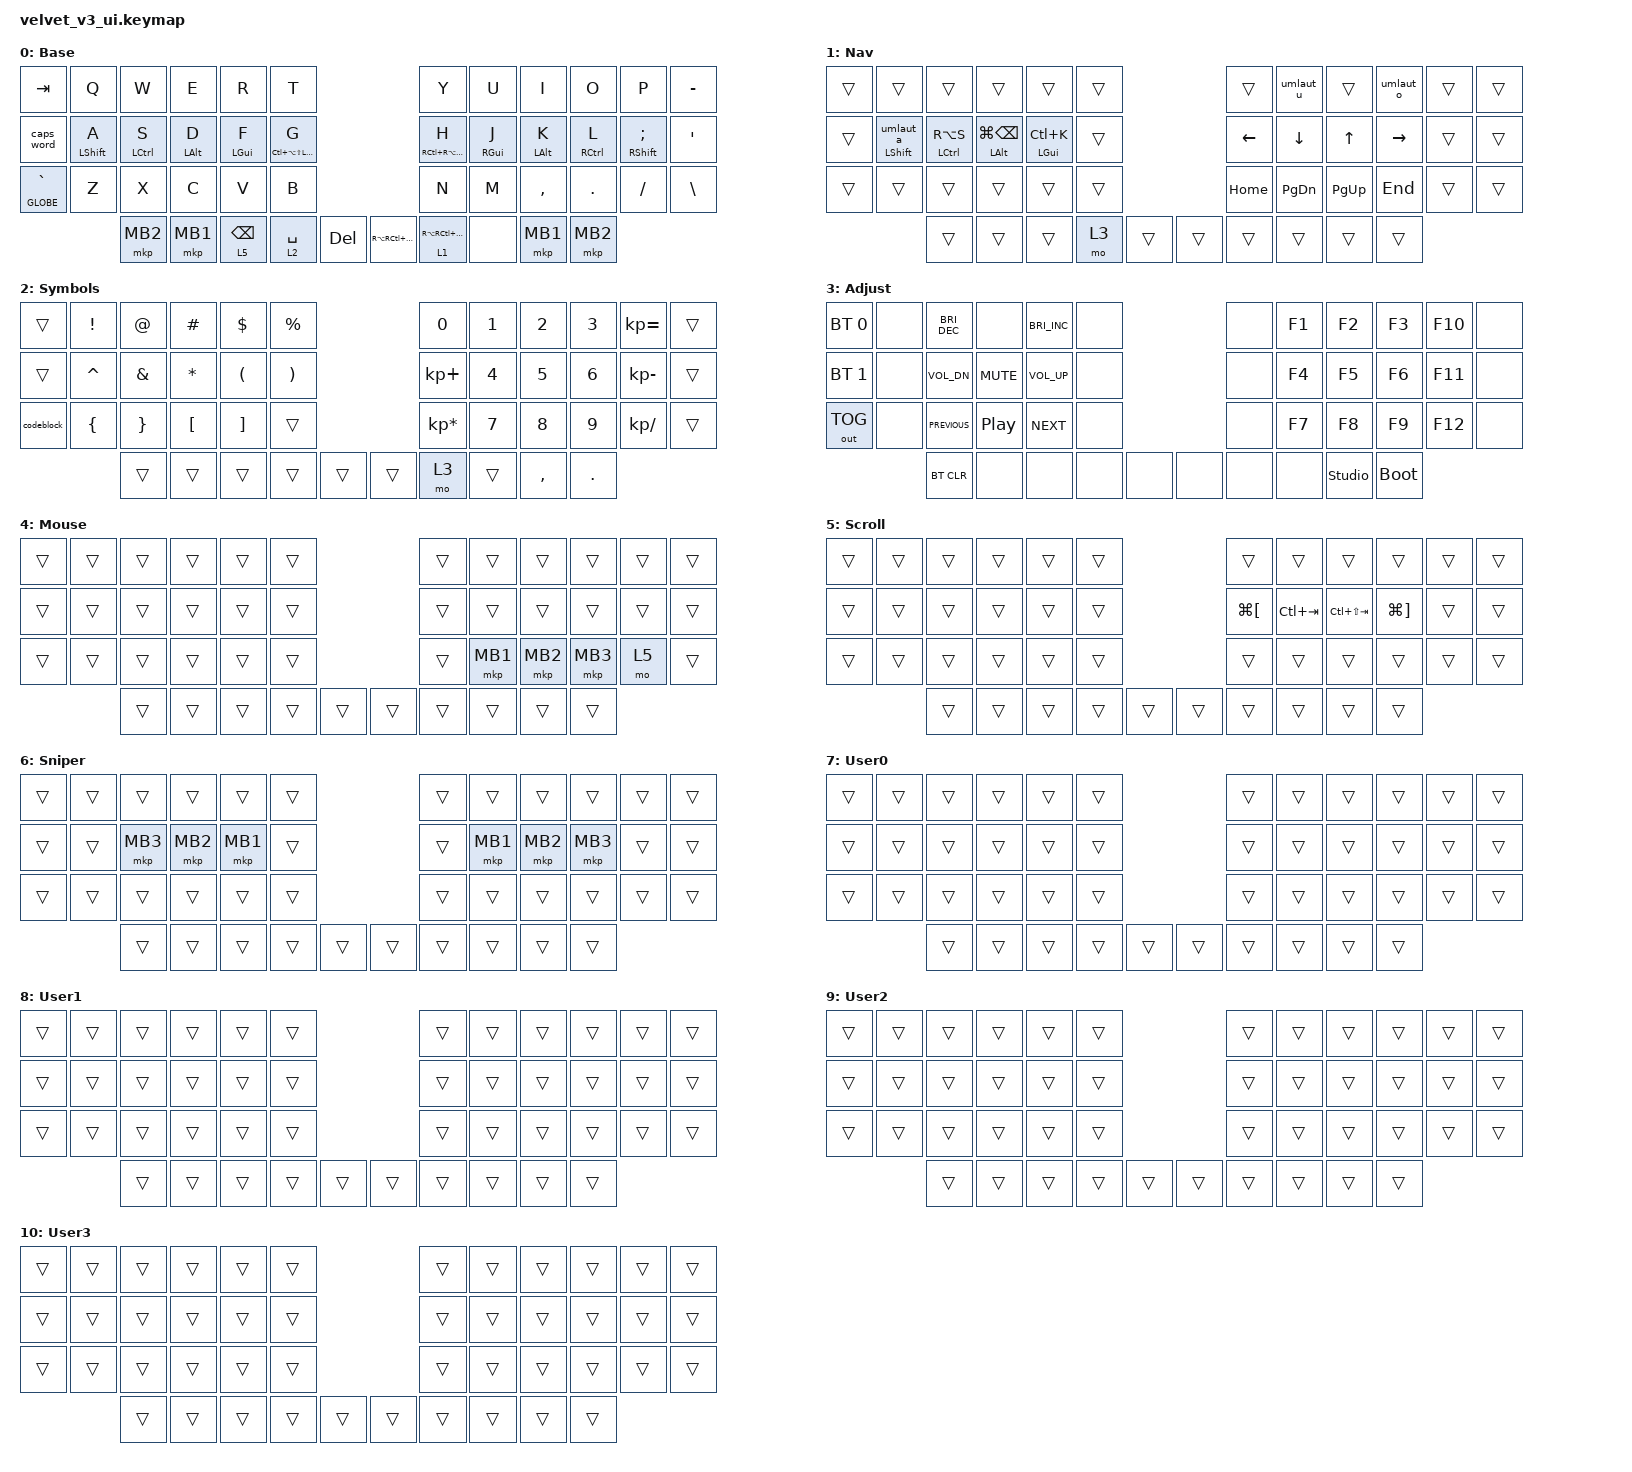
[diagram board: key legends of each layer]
#include "keys_ru.h"
#include <dt-bindings/zmk/input_transform.h>
#include <input/processors.dtsi>
#include <zephyr/dt-bindings/input/input-event-codes.h>
#include <behaviors.dtsi>
#include <dt-bindings/zmk/bt.h>
#include <dt-bindings/zmk/keys.h>
#include <dt-bindings/zmk/outputs.h>
#include <dt-bindings/zmk/pointing.h>

/ {
    behaviors {
        hold_click: hold_click {
            compatible = "zmk,behavior-hold-tap";
            label = "HOLD_CLICK";
            bindings = <&mo>, <&mkp>;

            #binding-cells = <2>;
            tapping-term-ms = <150>;
            hold-while-undecided;
        };

        mouse_layer: mouse_layer {
            compatible = "zmk,behavior-sticky-key";
            label = "MOUSE_LAYER";
            bindings = <&mo>;
            #binding-cells = <1>;
            release-after-ms = <200>;
        };

        hml: home_row_mod_left {
            compatible = "zmk,behavior-hold-tap";
            label = "HOME_ROW_MOD_LEFT";
            bindings = <&kp>, <&kp>;

            #binding-cells = <2>;
            flavor = "balanced";
            require-prior-idle-ms = <125>;
            tapping-term-ms = <280>;
            quick-tap-ms = <175>;
            hold-trigger-on-release;
            hold-trigger-key-positions = <19 20 22 6 7 8 9 10 10 11 22 23 34 35 18 19 20 21 22 30 31 32 33 34 44 45 41 42 43 38 39 40>;
        };

        hmr: home_row_mod_right {
            compatible = "zmk,behavior-hold-tap";
            label = "HOME_ROW_MOD_RIGHT";
            bindings = <&kp>, <&kp>;

            #binding-cells = <2>;
            flavor = "balanced";
            require-prior-idle-ms = <125>;
            tapping-term-ms = <280>;
            quick-tap-ms = <175>;
            hold-trigger-on-release;
            hold-trigger-key-positions = <16 15 13 0 1 2 3 4 5 12 13 14 15 16 17 24 25 26 27 28 29 36 37 38 39 40 41 42 43>;
        };

        shift_delete: shift_delete {
            compatible = "zmk,behavior-mod-morph";
            label = "SHIFT_DELETE";
            bindings = <&kp BACKSPACE>, <&kp DELETE>;

            #binding-cells = <0>;
            mods = <(MOD_LSFT)>;
        };

        zip_auto_mouse: zip_auto_mouse {
            compatible = "zmk,input-processor-temp-layer";
            #input-processor-cells = <2>;
            require-prior-idle-ms = <800>;
            excluded-positions = <>;
        };

        umlaut_a: umlaut_a {
            compatible = "zmk,behavior-mod-morph";
            label = "UMLAUT_A";
            #binding-cells = <0>;
            bindings = <&umlaut_a_lower>, <&umlaut_a_upper>;

            mods = <(MOD_LSFT|MOD_RSFT)>;
        };

        umlaut_u: umlaut_u {
            compatible = "zmk,behavior-mod-morph";
            label = "UMLAUT_U";
            #binding-cells = <0>;
            bindings = <&umlaut_u_lower>, <&umlaut_u_upper>;

            mods = <(MOD_LSFT|MOD_RSFT)>;
        };

        umlaut_o: umlaut_o {
            compatible = "zmk,behavior-mod-morph";
            label = "UMLAUT_O";
            #binding-cells = <0>;
            bindings = <&umlaut_o_lower>, <&umlaut_o_upper>;

            mods = <(MOD_LSFT|MOD_RSFT)>;
        };

        ht_umlaut_a: ht_umlaut_a {
            compatible = "zmk,behavior-hold-tap";
            label = "HT_UMLAUT_A";
            #binding-cells = <2>;
            bindings = <&kp>, <&umlaut_a>;

            tapping-term-ms = <280>;
            flavor = "balanced";
        };
    };

    combos {
        compatible = "zmk,combos";

        jk-enter {
            bindings = <&kp ENTER>;
            key-positions = <20 19>;
        };

        right-scroll {
            bindings = <&mo 5>;
            key-positions = <44 45>;
        };

        df-esc {
            bindings = <&kp ESC>;
            key-positions = <15 16>;
        };

        kl-shift-enter {
            bindings = <&kp RS(ENTER)>;
            key-positions = <20 21>;
        };
    };

    macros {
        codeblock: codeblock {
            compatible = "zmk,behavior-macro";
            #binding-cells = <0>;
            bindings =
                <&kp GRAVE &kp GRAVE &kp GRAVE &kp GRAVE>,
                <&macro_wait_time 10>,
                <&kp LS(RET) &kp LS(RET)>,
                <&macro_wait_time 10>,
                <&kp GRAVE &kp GRAVE &kp GRAVE &kp GRAVE>,
                <&macro_wait_time 10>,
                <&kp UP>;

            label = "CODEBLOCK";
        };

        umlaut_a_lower: umlaut_a_lower {
            compatible = "zmk,behavior-macro";
            #binding-cells = <0>;
            bindings = <&kp RA(U) &kp A>;
            label = "UMLAUT_A_LOWER";
        };

        umlaut_a_upper: umlaut_a_upper {
            compatible = "zmk,behavior-macro";
            #binding-cells = <0>;
            bindings = <&kp RA(U) &kp LS(A)>;
            label = "UMLAUT_A_UPPER";
        };

        umlaut_u_lower: umlaut_u_lower {
            compatible = "zmk,behavior-macro";
            #binding-cells = <0>;
            bindings = <&kp RA(U) &kp U>;
            label = "UMLAUT_U_LOWER";
        };

        umlaut_u_upper: umlaut_u_upper {
            compatible = "zmk,behavior-macro";
            #binding-cells = <0>;
            bindings = <&kp RA(U) &kp LS(U)>;
            label = "UMLAUT_U_UPPER";
        };

        umlaut_o_lower: umlaut_o_lower {
            compatible = "zmk,behavior-macro";
            #binding-cells = <0>;
            bindings = <&kp RA(U) &kp O>;
            label = "UMLAUT_O_LOWER";
        };

        umlaut_o_upper: umlaut_o_upper {
            compatible = "zmk,behavior-macro";
            #binding-cells = <0>;
            bindings = <&kp RA(U) &kp LS(O)>;
            label = "UMLAUT_O_UPPER";
        };
    };

    keymap {
        compatible = "zmk,keymap";

        base {
            bindings = <
&kp TAB          &kp Q              &kp W         &kp E            &kp R            &kp T                                                            &kp Y                          &kp U             &kp I            &kp O         &kp P                  &kp MINUS
&caps_word       &hml LEFT_SHIFT A  &hml LCTRL S  &hml LEFT_ALT D  &hml LEFT_GUI F  &hml LC(LA(LS(LEFT_GUI))) G                                      &hmr RC(RA(RS(RIGHT_GUI))) H   &hmr RIGHT_GUI J  &hmr LEFT_ALT K  &hmr RCTRL L  &hmr RIGHT_SHIFT SEMI  &kp SQT
&mt GLOBE GRAVE  &kp Z              &kp X         &kp C            &kp V            &kp B                                                            &kp N                          &kp M             &kp COMMA        &kp DOT       &kp SLASH              &kp BACKSLASH
                                    &mkp MB2      &mkp MB1         &lt 5 BACKSPACE  &lt 2 SPACE                  &kp DELETE    &kp RA(RC(RG(LEFT)))  &lt 1 RA(RC(RG(RIGHT_ARROW)))  &none             &mkp MB1         &mkp MB2
            >;

            display-name = "Base";
        };

        nav {
            bindings = <
&trans  &trans                     &trans            &trans                       &trans                &trans                    &trans    &umlaut_u      &trans       &umlaut_o  &trans  &trans
&trans  &ht_umlaut_a LEFT_SHIFT 0  &hml LCTRL RA(S)  &hml LEFT_ALT LG(BACKSPACE)  &hml LEFT_GUI LC(K)   &trans                    &kp LEFT  &kp DOWN       &kp UP       &kp RIGHT  &trans  &trans
&trans  &trans                     &trans            &trans                       &trans                &trans                    &kp HOME  &kp PAGE_DOWN  &kp PAGE_UP  &kp END    &trans  &trans
                                   &trans            &trans                       &trans                &mo 3   &trans    &trans  &trans    &trans         &trans       &trans
            >;

            display-name = "Nav";
        };

        sym {
            bindings = <
&trans      &kp EXCL        &kp AT           &kp HASH          &kp DOLLAR             &kp PERCENT                                &kp N0           &kp N1  &kp N2     &kp N3      &kp KP_EQUAL   &trans
&trans      &kp CARET       &kp AMPS         &kp ASTRK         &kp LEFT_PARENTHESIS   &kp RIGHT_PARENTHESIS                      &kp KP_PLUS      &kp N4  &kp N5     &kp N6      &kp KP_MINUS   &trans
&codeblock  &kp LEFT_BRACE  &kp RIGHT_BRACE  &kp LEFT_BRACKET  &kp RIGHT_BRACKET      &trans                                     &kp KP_MULTIPLY  &kp N7  &kp N8     &kp N9      &kp KP_DIVIDE  &trans
                            &trans           &trans            &trans                 &trans                 &trans      &trans  &mo 3            &trans  &kp COMMA  &kp PERIOD
            >;

            display-name = "Symbols";
        };

        adj {
            bindings = <
&bt BT_SEL 0  &none  &kp C_BRIGHTNESS_DEC  &none             &kp C_BRIGHTNESS_INC  &none                  &none  &kp F1  &kp F2          &kp F3       &kp F10  &none
&bt BT_SEL 1  &none  &kp C_VOL_DN          &kp C_MUTE        &kp C_VOL_UP          &none                  &none  &kp F4  &kp F5          &kp F6       &kp F11  &none
&out OUT_TOG  &none  &kp C_PREVIOUS        &kp C_PLAY_PAUSE  &kp C_NEXT            &none                  &none  &kp F7  &kp F8          &kp F9       &kp F12  &none
                     &bt BT_CLR            &none             &none                 &none  &none    &none  &none  &none   &studio_unlock  &bootloader
            >;

            display-name = "Adjust";
        };

        mouse {
            bindings = <
&trans  &trans  &trans  &trans  &trans  &trans                    &trans  &trans    &trans    &trans    &trans  &trans
&trans  &trans  &trans  &trans  &trans  &trans                    &trans  &trans    &trans    &trans    &trans  &trans
&trans  &trans  &trans  &trans  &trans  &trans                    &trans  &mkp MB1  &mkp MB2  &mkp MB3  &mo 5   &trans
                &trans  &trans  &trans  &trans  &trans    &trans  &trans  &trans    &trans    &trans
            >;

            display-name = "Mouse";
        };

        scroll {
            bindings = <
&trans  &trans  &trans  &trans  &trans  &trans                    &trans                &trans       &trans           &trans                 &trans  &trans
&trans  &trans  &trans  &trans  &trans  &trans                    &kp LG(LEFT_BRACKET)  &kp LC(TAB)  &kp LC(LS(TAB))  &kp LG(RIGHT_BRACKET)  &trans  &trans
&trans  &trans  &trans  &trans  &trans  &trans                    &trans                &trans       &trans           &trans                 &trans  &trans
                &trans  &trans  &trans  &trans  &trans    &trans  &trans                &trans       &trans           &trans
            >;

            display-name = "Scroll";
        };

        sniper {
            bindings = <
&trans  &trans  &trans    &trans    &trans    &trans                    &trans  &trans    &trans    &trans    &trans  &trans
&trans  &trans  &mkp MB3  &mkp MB2  &mkp MB1  &trans                    &trans  &mkp MB1  &mkp MB2  &mkp MB3  &trans  &trans
&trans  &trans  &trans    &trans    &trans    &trans                    &trans  &trans    &trans    &trans    &trans  &trans
                &trans    &trans    &trans    &trans  &trans    &trans  &trans  &trans    &trans    &trans
            >;

            display-name = "Sniper";
        };

        User0 {
            bindings = <
&trans  &trans  &trans  &trans  &trans  &trans                    &trans  &trans  &trans  &trans  &trans  &trans
&trans  &trans  &trans  &trans  &trans  &trans                    &trans  &trans  &trans  &trans  &trans  &trans
&trans  &trans  &trans  &trans  &trans  &trans                    &trans  &trans  &trans  &trans  &trans  &trans
                &trans  &trans  &trans  &trans  &trans    &trans  &trans  &trans  &trans  &trans
            >;

            display-name = "User0";
        };

        User1 {
            bindings = <
&trans  &trans  &trans  &trans  &trans  &trans                    &trans  &trans  &trans  &trans  &trans  &trans
&trans  &trans  &trans  &trans  &trans  &trans                    &trans  &trans  &trans  &trans  &trans  &trans
&trans  &trans  &trans  &trans  &trans  &trans                    &trans  &trans  &trans  &trans  &trans  &trans
                &trans  &trans  &trans  &trans  &trans    &trans  &trans  &trans  &trans  &trans
            >;

            display-name = "User1";
        };

        User2 {
            bindings = <
&trans  &trans  &trans  &trans  &trans  &trans                    &trans  &trans  &trans  &trans  &trans  &trans
&trans  &trans  &trans  &trans  &trans  &trans                    &trans  &trans  &trans  &trans  &trans  &trans
&trans  &trans  &trans  &trans  &trans  &trans                    &trans  &trans  &trans  &trans  &trans  &trans
                &trans  &trans  &trans  &trans  &trans    &trans  &trans  &trans  &trans  &trans
            >;

            display-name = "User2";
        };

        User3 {
            bindings = <
&trans  &trans  &trans  &trans  &trans  &trans                    &trans  &trans  &trans  &trans  &trans  &trans
&trans  &trans  &trans  &trans  &trans  &trans                    &trans  &trans  &trans  &trans  &trans  &trans
&trans  &trans  &trans  &trans  &trans  &trans                    &trans  &trans  &trans  &trans  &trans  &trans
                &trans  &trans  &trans  &trans  &trans    &trans  &trans  &trans  &trans  &trans
            >;

            display-name = "User3";
        };
    };
};

&trackball { cpi = <1000>; };

&trackball_listener {
    input-processors = <&zip_xy_scaler 9 20>;

    scroller {
        layers = <5>;
        input-processors =
            <&zip_xy_transform INPUT_TRANSFORM_Y_INVERT>,
            // natural scroll (invert Y),,
            <&zip_xy_scaler 1 32>,
            // scroll speed = 1/32 * cpi (ergohaven default).,,
            // 1 4 was too sensitive in practice (host doesn't,,
            // fully honor the hi-res multiplier), so back to,,
            // the documented baseline. Smooth scrolling (.conf),,
            // still adds finer granularity than the old 1 64.,,
            // TUNE: too sensitive -> 1 48 / 1 64; too slow -> 1 16.,,
            <&zip_xy_to_scroll_mapper>;

        // X/Y motion -> scroll wheel
    };

    sniper {
        layers = <6>;
        input-processors = <&zip_xy_scaler 1 4>;
    };
};
